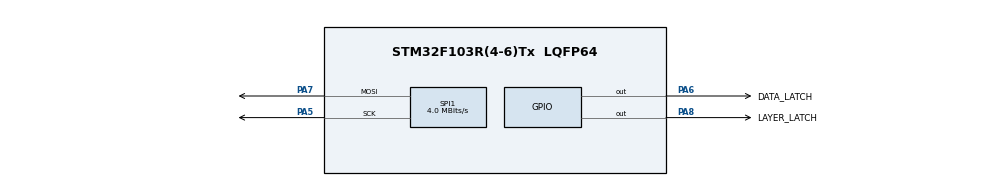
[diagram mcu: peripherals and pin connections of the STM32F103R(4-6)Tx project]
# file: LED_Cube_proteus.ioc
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Mcu.Family=STM32F1
Mcu.Name=STM32F103R(4-6)Tx
Mcu.Package=LQFP64
NVIC.PriorityGroup=NVIC_PRIORITYGROUP_4
NVIC.SPI1_IRQn=true\:0\:0\:false\:false\:true\:true\:true
PA13.Mode=Serial_Wire
PA13.Signal=SYS_JTMS-SWDIO
PA14.Mode=Serial_Wire
PA14.Signal=SYS_JTCK-SWCLK
PA5.Mode=TX_Only_Simplex_Unidirect_Master
PA5.Signal=SPI1_SCK
PA6.GPIO_Label=DATA_LATCH
PA6.Signal=GPIO_Output
PA7.Mode=TX_Only_Simplex_Unidirect_Master
PA7.Signal=SPI1_MOSI
PA8.GPIO_Label=LAYER_LATCH
PA8.Signal=GPIO_Output
ProjectManager.HeapSize=0x200
ProjectManager.StackSize=0x400
ProjectManager.TargetToolchain=SW4STM32
RCC.APB1Freq_Value=8000000
RCC.APB2Freq_Value=8000000
SPI1.CalculateBaudRate=4.0 MBits/s
SPI1.Direction=SPI_DIRECTION_2LINES
SPI1.Mode=SPI_MODE_MASTER
SPI1.VirtualType=VM_MASTER
board=custom

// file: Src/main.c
/* USER CODE BEGIN Header */
/**
  ******************************************************************************
  * @file           : main.c
  * @brief          : Main program body
  ******************************************************************************
  * @attention
  *
  * <h2><center>&copy; Copyright (c) 2020 STMicroelectronics.
  * All rights reserved.</center></h2>
  *
  * This software component is licensed by ST under BSD 3-Clause license,
  * the "License"; You may not use this file except in compliance with the
  * License. You may obtain a copy of the License at:
  *                        opensource.org/licenses/BSD-3-Clause
  *
  ******************************************************************************
  */
/* USER CODE END Header */

#include "main.h"

SPI_HandleTypeDef hspi1;

void SystemClock_Config(void);
static void MX_GPIO_Init(void);
static void MX_SPI1_Init(void);
/* USER CODE BEGIN PFP */
void Scan_LED(void);
void effect1(void);

/* USER CODE END PFP */

/* USER CODE BEGIN 0 */
uint8_t LAYER_Data[1] = {0xFE};
uint8_t LED_Data[8] = {0xAA, 0xAA, 0xAA, 0xAA, 0xAA, 0xAA, 0xAA, 0xAA};
uint8_t Matrix_Data[8] = {0x0f, 0x11, 0x11, 0x0f, 0x0f, 0x11, 0x11, 0x0f};
uint8_t Side_Enable[8] = {0, 1, 0, 1, 0, 1, 0, 1};

/* USER CODE END 0 */

int main(void)
{

  /* MCU Configuration--------------------------------------------------------*/

  /* Reset of all peripherals, Initializes the Flash interface and the Systick. */
  HAL_Init();

  /* Configure the system clock */
  SystemClock_Config();

  /* Initialize all configured peripherals */
  MX_GPIO_Init();
  MX_SPI1_Init();
  /* USER CODE BEGIN 2 */
//  HAL_GPIO_WritePin(GPIOA, GPIO_PIN_6, GPIO_PIN_RESET);
//  HAL_SPI_Transmit(&hspi1, LED_Data, 8, 10);
//  HAL_GPIO_WritePin(GPIOA, GPIO_PIN_6, GPIO_PIN_SET);
//  HAL_Delay(10);
//
//  HAL_GPIO_WritePin(GPIOA, GPIO_PIN_8, GPIO_PIN_RESET);
//  HAL_SPI_Transmit(&hspi1, LAYER_Data, 1, 10);
//  HAL_GPIO_WritePin(GPIOA, GPIO_PIN_8, GPIO_PIN_SET);
//  HAL_Delay(1000);

  /* USER CODE END 2 */

  /* Infinite loop */
  /* USER CODE BEGIN WHILE */
  while (1)
  {
//	  Scan_LED();
	  effect1();
    /* USER CODE END WHILE */

  }
}

void SystemClock_Config(void)
{
  RCC_OscInitTypeDef RCC_OscInitStruct = {0};
  RCC_ClkInitTypeDef RCC_ClkInitStruct = {0};

  /** Initializes the CPU, AHB and APB busses clocks
  */
  RCC_OscInitStruct.OscillatorType = RCC_OSCILLATORTYPE_HSI;
  RCC_OscInitStruct.HSIState = RCC_HSI_ON;
  RCC_OscInitStruct.HSICalibrationValue = RCC_HSICALIBRATION_DEFAULT;
  RCC_OscInitStruct.PLL.PLLState = RCC_PLL_NONE;
  if (HAL_RCC_OscConfig(&RCC_OscInitStruct) != HAL_OK)
  {
    Error_Handler();
  }
  /** Initializes the CPU, AHB and APB busses clocks
  */
  RCC_ClkInitStruct.ClockType = RCC_CLOCKTYPE_HCLK|RCC_CLOCKTYPE_SYSCLK
                              |RCC_CLOCKTYPE_PCLK1|RCC_CLOCKTYPE_PCLK2;
  RCC_ClkInitStruct.SYSCLKSource = RCC_SYSCLKSOURCE_HSI;
  RCC_ClkInitStruct.AHBCLKDivider = RCC_SYSCLK_DIV1;
  RCC_ClkInitStruct.APB1CLKDivider = RCC_HCLK_DIV1;
  RCC_ClkInitStruct.APB2CLKDivider = RCC_HCLK_DIV1;

  if (HAL_RCC_ClockConfig(&RCC_ClkInitStruct, FLASH_LATENCY_0) != HAL_OK)
  {
    Error_Handler();
  }
}

static void MX_SPI1_Init(void)
{

  /* SPI1 parameter configuration*/
  hspi1.Instance = SPI1;
  hspi1.Init.Mode = SPI_MODE_MASTER;
  hspi1.Init.Direction = SPI_DIRECTION_2LINES;
  hspi1.Init.DataSize = SPI_DATASIZE_8BIT;
  hspi1.Init.CLKPolarity = SPI_POLARITY_LOW;
  hspi1.Init.CLKPhase = SPI_PHASE_1EDGE;
  hspi1.Init.NSS = SPI_NSS_SOFT;
  hspi1.Init.BaudRatePrescaler = SPI_BAUDRATEPRESCALER_2;
  hspi1.Init.FirstBit = SPI_FIRSTBIT_MSB;
  hspi1.Init.TIMode = SPI_TIMODE_DISABLE;
  hspi1.Init.CRCCalculation = SPI_CRCCALCULATION_DISABLE;
  hspi1.Init.CRCPolynomial = 10;
  if (HAL_SPI_Init(&hspi1) != HAL_OK)
  {
    Error_Handler();
  }

}

static void MX_GPIO_Init(void)
{
  GPIO_InitTypeDef GPIO_InitStruct = {0};

  /* GPIO Ports Clock Enable */
  __HAL_RCC_GPIOA_CLK_ENABLE();

  /*Configure GPIO pin Output Level */
  HAL_GPIO_WritePin(GPIOA, DATA_LATCH_Pin|LAYER_LATCH_Pin, GPIO_PIN_RESET);

  /*Configure GPIO pins : DATA_LATCH_Pin LAYER_LATCH_Pin */
  GPIO_InitStruct.Pin = DATA_LATCH_Pin|LAYER_LATCH_Pin;
  GPIO_InitStruct.Mode = GPIO_MODE_OUTPUT_PP;
  GPIO_InitStruct.Pull = GPIO_NOPULL;
  GPIO_InitStruct.Speed = GPIO_SPEED_FREQ_LOW;
  HAL_GPIO_Init(GPIOA, &GPIO_InitStruct);

}

/* USER CODE BEGIN 4 */
void Scan_LED(void)
{
	uint8_t temp = 1;
	uint8_t i;
	uint8_t k;
	for(i=0;i<8;i++)
	{
		LAYER_Data[0] = ~temp;
		for(k=0;k<8;k++)
		{
			LED_Data[k] = Matrix_Data[i]*Side_Enable[k];
		}

		HAL_GPIO_WritePin(GPIOA, GPIO_PIN_6, GPIO_PIN_RESET);
		HAL_SPI_Transmit(&hspi1, LED_Data, 8, 10);
		HAL_GPIO_WritePin(GPIOA, GPIO_PIN_6, GPIO_PIN_SET);
		HAL_GPIO_WritePin(GPIOA, GPIO_PIN_8, GPIO_PIN_RESET);
		HAL_SPI_Transmit(&hspi1, LAYER_Data, 1, 10);
		HAL_GPIO_WritePin(GPIOA, GPIO_PIN_8, GPIO_PIN_SET);

		//HAL_Delay(10);
		temp = temp << 1;
	}
}

void effect1(void)
{
	uint8_t temp=1;
	uint8_t i;

	LED_Data[0] = 0xff;
	LED_Data[1] = 0x81;
	LED_Data[2] = 0x81;
	LED_Data[3] = 0x81;
	LED_Data[4] = 0x81;
	LED_Data[5] = 0x81;
	LED_Data[6] = 0x81;
	LED_Data[7] = 0xff;

	for(i=0;i<8;i++)
	{
		LAYER_Data[0] = ~temp;

		HAL_GPIO_WritePin(GPIOA, GPIO_PIN_6, GPIO_PIN_RESET);
		HAL_SPI_Transmit(&hspi1, LED_Data, 8, 10);
		HAL_GPIO_WritePin(GPIOA, GPIO_PIN_6, GPIO_PIN_SET);
		HAL_GPIO_WritePin(GPIOA, GPIO_PIN_8, GPIO_PIN_RESET);
		HAL_SPI_Transmit(&hspi1, LAYER_Data, 1, 10);
		HAL_GPIO_WritePin(GPIOA, GPIO_PIN_8, GPIO_PIN_SET);

		temp = temp << 1;
	}
}

/* USER CODE END 4 */

void Error_Handler(void)
{
}

/************************ (C) COPYRIGHT STMicroelectronics *****END OF FILE****/
